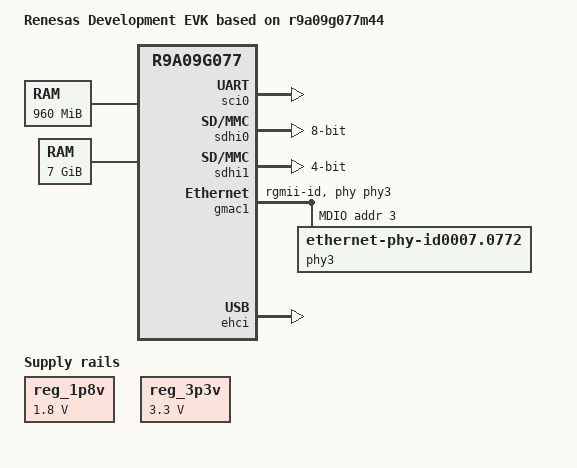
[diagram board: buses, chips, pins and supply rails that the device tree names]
// SPDX-License-Identifier: (GPL-2.0-only OR BSD-2-Clause)
/*
 * Device Tree Source for the RZ/T2H Development EVK board
 *
 * Copyright (C) 2023 Renesas Electronics Corp.
 */

/dts-v1/;
#include "r9a09g077.dtsi"
#include <dt-bindings/pinctrl/rzt2h-pinctrl.h>
#include <dt-bindings/gpio/gpio.h>
#include "r9a09g077-u-boot.dtsi"

/ {
	model = "Renesas Development EVK based on r9a09g077m44";
	compatible = "renesas,r9a09g077m44-dev", "renesas,r9a09g077m44", "renesas,r9a09g077";


	aliases {
		serial0 = &sci0;
		mmc0 = &sdhi0;
		mmc1 = &sdhi1;
	};

	chosen {
		bootargs = "ignore_loglevel";
		stdout-path = "serial0:115200n8";
	};

	memory@C4000000 {
		device_type = "memory";
		reg = <0x0 0xC4000000 0x0 0x3C000000>;
	};

	memory@204000000 {
		device_type = "memory";
		reg = <0x2 0x40000000 0x1 0xC0000000>;
	};

	reg_1p8v: regulator0 {
		compatible = "regulator-fixed";

		regulator-name = "fixed-1.8V";
		regulator-min-microvolt = <1800000>;
		regulator-max-microvolt = <1800000>;
		regulator-boot-on;
		regulator-always-on;
	};

	reg_3p3v: regulator1 {
		compatible = "regulator-fixed";

		regulator-name = "fixed-3.3V";
		regulator-min-microvolt = <3300000>;
		regulator-max-microvolt = <3300000>;
		regulator-boot-on;
		regulator-always-on;
	};

};

&sci0 {
	status = "okay";
};

&sdhi0 {
	bus-width = <8>;
	status = "okay";

	/* This is used for interface that support both eMMC and SD in board */
	mutual-channel;
};

&sdhi1 {
	bus-width = <4>;
	status = "okay";
};

&gmac1 {
	phy-handle = <&phy3>;
	phy-mode = "rgmii-id";
	status = "okay";

	mdio {
		#address-cells = <1>;
		#size-cells = <0>;
		phy3: ethernet-phy@3 {
			compatible = "ethernet-phy-id0007.0772";
			phy-mode = "rgmii-id";
			reg = <3>;
		};
	};
};

&ehci {
	status = "okay";
};
